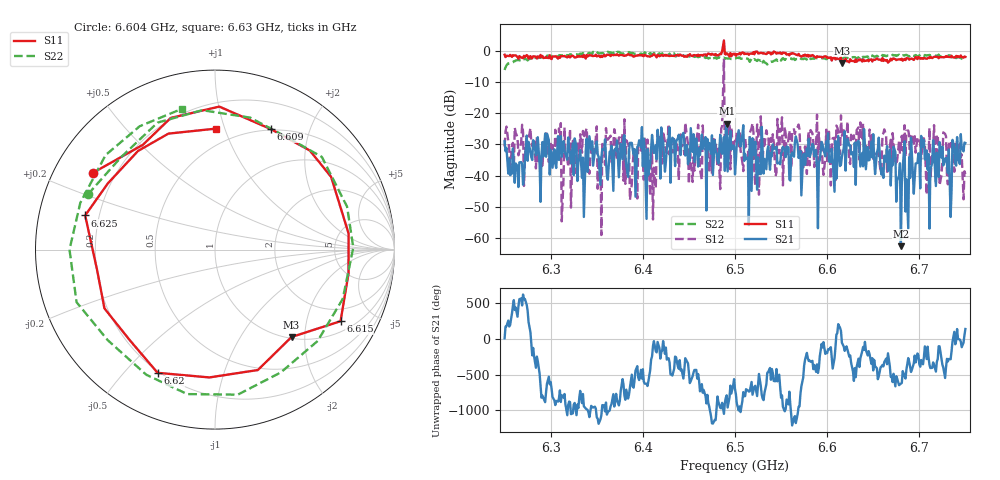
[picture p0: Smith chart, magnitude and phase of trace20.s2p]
# Hz S RI R 50
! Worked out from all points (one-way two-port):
!   401 points, 6.25 GHz to 6.75 GHz, reference 50 ohm
!   highest |S21| = -23.27 dB at 6.491 GHz (marker M1); lowest = -62.7 dB at 6.68 GHz (marker M2)
!   lowest |S11| = -3.8 dB at 6.616 GHz (marker M3), VSWR 4.67, Z = 51.3 - j86 ohm
!   |S11| at or under -10 dB: nowhere
!   |S22| runs from -6.0 to -0.1 dB; largest |S21 - S12| = 0.72
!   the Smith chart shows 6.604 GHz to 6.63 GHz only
!   S11 on the Smith chart (normalised r, x): 6.604 GHz: 0.12, +0.29; 6.609 GHz: 0.49, +1.45; 6.615 GHz: 1.41, -3.20; 6.62 GHz: 0.19, -0.62; 6.625 GHz: 0.15, +0.13; 6.63 GHz: 0.38, +0.94
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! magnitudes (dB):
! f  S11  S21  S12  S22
! 6.25 GHz  -1.1  -29.0  -30.6  -6.0
! 6.334 GHz  -1.5  -40.8  -32.6  -0.8
! 6.354 GHz  -1.9  -43.0  -34.2  -0.6
! 6.398 GHz  -1.3  -30.9  -31.9  -0.7
! 6.41 GHz  -1.5  -26.9  -31.8  -1.1
! 6.418 GHz  -1.6  -30.4  -28.6  -0.6
! 6.491 GHz  -0.6  -23.3  -27.5  -2.2
! 6.5 GHz  -0.8  -39.6  -28.8  -2.3
! 6.584 GHz  -1.2  -29.8  -26.4  -2.4
! 6.604 GHz  -1.9  -35.6  -43.2  -2.2
! 6.609 GHz  -2.6  -28.8  -41.5  -2.4
! 6.615 GHz  -1.9  -36.5  -20.6  -2.4
! 6.616 GHz  -3.8  -34.0  -27.2  -2.3
! 6.62 GHz  -2.4  -38.4  -30.6  -1.7
! 6.625 GHz  -2.5  -30.3  -36.3  -1.8
! 6.63 GHz  -3.4  -29.4  -30.7  -1.9
! 6.668 GHz  -3.1  -31.6  -30.6  -1.2
! 6.68 GHz  -2.7  -62.7  -29.7  -1.3
! 6.705 GHz  -2.1  -28.5  -28.0  -1.6
! 6.711 GHz  -2.2  -57.1  -24.7  -1.2
! 6.741 GHz  -1.9  -27.6  -28.9  -2.0
! 6.75 GHz  -1.8  -29.5  -39.6  -2.2
